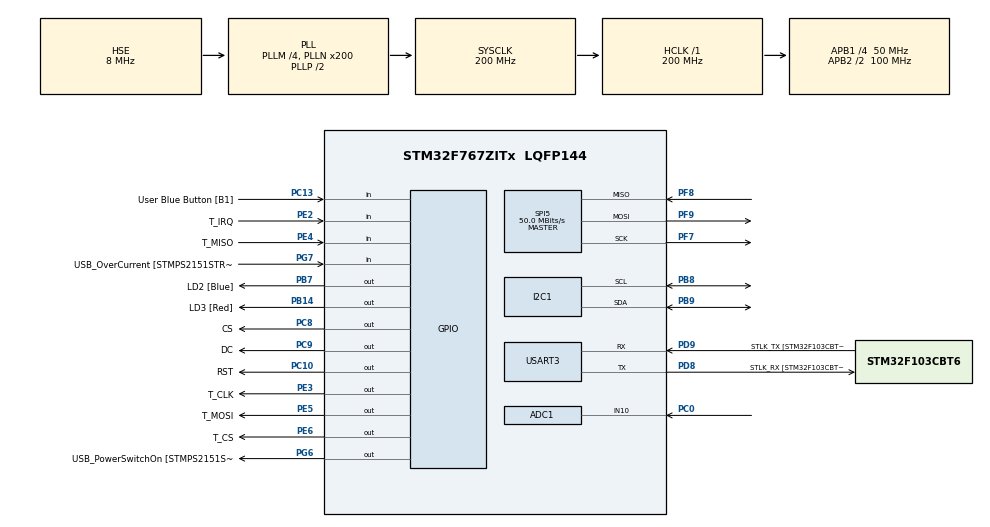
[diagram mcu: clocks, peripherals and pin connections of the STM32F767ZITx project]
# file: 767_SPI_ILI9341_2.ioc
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ADC1.Channel-0\#ChannelRegularConversion=ADC_CHANNEL_10
ADC1.ContinuousConvMode=ENABLE
ADC1.EOCSelection=ADC_EOC_SEQ_CONV
ADC1.NbrOfConversionFlag=1
ADC1.Rank-0\#ChannelRegularConversion=1
ADC1.SamplingTime-0\#ChannelRegularConversion=ADC_SAMPLETIME_3CYCLES
ADC1.master=1
CORTEX_M7.ART_ACCLERATOR_ENABLE=1
CORTEX_M7.CPU_DCache=Enabled
CORTEX_M7.CPU_ICache=Enabled
CORTEX_M7.PREFETCH_ENABLE=1
I2C1.Timing=0x00C0EAFF
Mcu.Family=STM32F7
Mcu.Name=STM32F767ZITx
Mcu.Package=LQFP144
NVIC.PriorityGroup=NVIC_PRIORITYGROUP_4
PA1.GPIO_Label=RMII_REF_CLK [LAN8742A-CZ-TR_REFCLK0]
PA1.Signal=ETH_REF_CLK
PA13.GPIO_Label=TMS
PA13.Mode=Serial_Wire
PA13.Signal=SYS_JTMS-SWDIO
PA14.GPIO_Label=TCK
PA14.Mode=Serial_Wire
PA14.Signal=SYS_JTCK-SWCLK
PA2.GPIO_Label=RMII_MDIO [LAN8742A-CZ-TR_MDIO]
PA2.Signal=ETH_MDIO
PA7.GPIO_Label=RMII_CRS_DV [LAN8742A-CZ-TR_CRS_DV]
PA7.Signal=ETH_CRS_DV
PB13.GPIO_Label=RMII_TXD1 [LAN8742A-CZ-TR_TXD1]
PB13.Signal=ETH_TXD1
PB14.GPIO_Label=LD3 [Red]
PB14.Signal=GPIO_Output
PB3.GPIO_Label=SWO
PB3.Signal=SYS_JTDO-SWO
PB7.GPIO_Label=LD2 [Blue]
PB7.Signal=GPIO_Output
PB8.Mode=I2C
PB8.Signal=I2C1_SCL
PB9.Mode=I2C
PB9.Signal=I2C1_SDA
PC0.Signal=ADCx_IN10
PC1.GPIO_Label=RMII_MDC [LAN8742A-CZ-TR_MDC]
PC1.Signal=ETH_MDC
PC10.GPIO_Label=RST
PC10.GPIO_Speed=GPIO_SPEED_FREQ_VERY_HIGH
PC10.Signal=GPIO_Output
PC13.GPIO_Label=User Blue Button [B1]
PC13.Signal=GPIO_Input
PC14/OSC32_IN.Mode=LSE-External-Oscillator
PC14/OSC32_IN.Signal=RCC_OSC32_IN
PC15/OSC32_OUT.Mode=LSE-External-Oscillator
PC15/OSC32_OUT.Signal=RCC_OSC32_OUT
PC4.GPIO_Label=RMII_RXD0 [LAN8742A-CZ-TR_RXD0]
PC4.Signal=ETH_RXD0
PC5.GPIO_Label=RMII_RXD1 [LAN8742A-CZ-TR_RXD1]
PC5.Signal=ETH_RXD1
PC8.GPIO_Label=CS
PC8.GPIO_PuPd=GPIO_PULLUP
PC8.GPIO_Speed=GPIO_SPEED_FREQ_VERY_HIGH
PC8.Signal=GPIO_Output
PC9.GPIO_Label=DC
PC9.GPIO_PuPd=GPIO_PULLUP
PC9.GPIO_Speed=GPIO_SPEED_FREQ_VERY_HIGH
PC9.Signal=GPIO_Output
PD8.GPIO_Label=STLK_RX [STM32F103CBT6_PA3]
PD8.Mode=Asynchronous
PD8.Signal=USART3_TX
PD9.GPIO_Label=STLK_TX [STM32F103CBT6_PA2]
PD9.Mode=Asynchronous
PD9.Signal=USART3_RX
PE2.GPIO_Label=T_IRQ
PE2.Signal=GPIO_Input
PE3.GPIO_Label=T_CLK
PE3.GPIO_Speed=GPIO_SPEED_FREQ_VERY_HIGH
PE3.Signal=GPIO_Output
PE4.GPIO_Label=T_MISO
PE4.Signal=GPIO_Input
PE5.GPIO_Label=T_MOSI
PE5.GPIO_Speed=GPIO_SPEED_FREQ_VERY_HIGH
PE5.Signal=GPIO_Output
PE6.GPIO_Label=T_CS
PE6.GPIO_Speed=GPIO_SPEED_FREQ_VERY_HIGH
PE6.Signal=GPIO_Output
PF7.Mode=Full_Duplex_Master
PF7.Signal=SPI5_SCK
PF8.Mode=Full_Duplex_Master
PF8.Signal=SPI5_MISO
PF9.Mode=Full_Duplex_Master
PF9.Signal=SPI5_MOSI
PG11.GPIO_Label=RMII_TX_EN [LAN8742A-CZ-TR_TXEN]
PG11.Signal=ETH_TX_EN
PG13.GPIO_Label=RMII_TXD0 [LAN8742A-CZ-TR_TXD0]
PG13.Signal=ETH_TXD0
PG6.GPIO_Label=USB_PowerSwitchOn [STMPS2151STR_EN]
PG6.Signal=GPIO_Output
PG7.GPIO_Label=USB_OverCurrent [STMPS2151STR_FAULT]
PG7.Signal=GPIO_Input
PH0/OSC_IN.GPIO_Label=MCO [STM32F103CBT6_PA8]
PH0/OSC_IN.Mode=HSE-External-Clock-Source
PH0/OSC_IN.Signal=RCC_OSC_IN
PH1/OSC_OUT.Mode=HSE-External-Clock-Source
PH1/OSC_OUT.Signal=RCC_OSC_OUT
ProjectManager.HeapSize=0x200
ProjectManager.StackSize=0x400
ProjectManager.TargetToolchain=STM32CubeIDE
RCC.48MHZClocksFreq_Value=24000000
RCC.AHBFreq_Value=200000000
RCC.APB1CLKDivider=RCC_HCLK_DIV4
RCC.APB1Freq_Value=50000000
RCC.APB1TimFreq_Value=100000000
RCC.APB2CLKDivider=RCC_HCLK_DIV2
RCC.APB2Freq_Value=100000000
RCC.APB2TimFreq_Value=200000000
RCC.CortexFreq_Value=200000000
RCC.HCLKFreq_Value=200000000
RCC.HSE_VALUE=8000000
RCC.HSI_VALUE=16000000
RCC.PLLM=4
RCC.PLLMUL=RCC_PLL_MUL9
RCC.PLLN=200
RCC.PLLQ=9
RCC.PLLSourceVirtual=RCC_PLLSOURCE_HSE
RCC.PRESCALERUSB=RCC_USBCLKSOURCE_PLL_DIV1_5
RCC.SYSCLKFreq_VALUE=200000000
RCC.SYSCLKSource=RCC_SYSCLKSOURCE_PLLCLK
RCC.SYSCLKSourceVirtual=RCC_SYSCLKSOURCE_PLLCLK
RCC.USBFreq_Value=44444444.44444445
RCC.VCOOutputFreq_Value=400000000
SH.ADCx_IN10.0=ADC1_IN10,IN10
SPI5.CalculateBaudRate=50.0 MBits/s
SPI5.DataSize=SPI_DATASIZE_8BIT
SPI5.Direction=SPI_DIRECTION_2LINES
SPI5.Mode=SPI_MODE_MASTER
SPI5.NSSPMode=SPI_NSS_PULSE_DISABLE
SPI5.VirtualType=VM_MASTER
TIM1.ClockDivision=TIM_CLOCKDIVISION_DIV1
TIM1.Period=65536-1
TIM1.Prescaler=20000-1
USART3.VirtualMode-Asynchronous=VM_ASYNC
VP_RNG_VS_RNG.Mode=RNG_Activate
VP_TIM1_VS_ClockSourceINT.Mode=Internal
board=NUCLEO-F767ZI

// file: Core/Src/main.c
/* USER CODE BEGIN Header */
/**
  ******************************************************************************
  * @file           : main.c
  * @brief          : Main program body
  ******************************************************************************
  * @attention
  *
  * <h2><center>&copy; Copyright (c) 2021 STMicroelectronics.
  * All rights reserved.</center></h2>
  *
  * This software component is licensed by ST under BSD 3-Clause license,
  * the "License"; You may not use this file except in compliance with the
  * License. You may obtain a copy of the License at:
  *                        opensource.org/licenses/BSD-3-Clause
  *
  ******************************************************************************
  */
/* USER CODE END Header */
#include "main.h"
#include "adc.h"
#include "i2c.h"
#include "rng.h"
#include "spi.h"
#include "tim.h"
#include "usart.h"
#include "gpio.h"

/* USER CODE BEGIN Includes */
#include "stdio.h"
#include "ILI9341_Touchscreen.h"
#include "ILI9341_STM32_Driver.h"
#include "ILI9341_GFX.h"
#include "snow_tiger.h"
#include "my_image.h"

#include "adc.h"
#include "tim.h"

extern I2C_HandleTypeDef hi2c1;  // ใช้ I2C1
uint8_t data_buffer[8];
#define AM2320_ADDR 0xB8  // I2C Address ของ AM2320 (Shifted 8-bit)
uint16_t temp_raw;
#define MAX_PERCENT 100
#define STEP_PERCENT 10
float temperature = 0.0;
float humidity = 0.0;
uint16_t ILI9341_Color565(uint8_t r, uint8_t g, uint8_t b) {
    return ((r & 0xF8) << 8) | ((g & 0xFC) << 3) | (b >> 3);
}

uint8_t red_percent = 0;
uint8_t green_percent = 0;
uint8_t blue_percent = 0;

uint8_t current_screen = 1; // 1 = หน้าหลัก, 2 = หน้าจอที่สอง
/* USER CODE END Includes */

/* USER CODE BEGIN PV */
/* Private variables ---------------------------------------------------------*/

/* USER CODE END PV */

void SystemClock_Config(void);
/* USER CODE BEGIN PFP */
/* Private function prototypes -----------------------------------------------*/
void draw_color_buttons();
void update_percentage_bar(uint16_t button_id);
/* USER CODE END PFP */

/* USER CODE BEGIN 0 */

  char str[50];
  uint8_t cmdBuffer[3] ={0x03,0x00,0x04};
  uint8_t dataBuffer[8];

void read_AM2320(float *temperature, float *humidity) {
			HAL_I2C_Master_Transmit(&hi2c1, 0x5c << 1, cmdBuffer, 3, 100);

		  HAL_I2C_Master_Transmit(&hi2c1, 0x5c << 1, cmdBuffer, 3, 100);
		  HAL_Delay(1);

		  HAL_I2C_Master_Receive(&hi2c1, 0x5c << 1, dataBuffer, 8, 100);

		  uint16_t t = ((dataBuffer[4] & 0x7F) << 8)+ dataBuffer[5];
		  *temperature = t/10.0;
//		  t = (((dataBuffer[4] & 0x80 )>> 7) == 1) ? (t*(-1)) :t ;

		  uint16_t h = (dataBuffer[2] << 8) + dataBuffer[3];
		  *humidity = h/10.0;
}

void display_sensor_data();  // ประกาศฟังก์ชันก่อนใช้งาน

// ฟังก์ชัน printf() ใช้ UART3 แทน UART1
int _write(int file, char *ptr, int len) {
    HAL_UART_Transmit(&huart3, (uint8_t*) ptr, len, 100);
    return len;
}

void adjust_backlight(uint16_t adc_value) {
    // จำกัดค่า ADC ให้อยู่ในช่วงที่ถูกต้อง
    if (adc_value > 4095) adc_value = 4095;

    // แปลงค่า ADC (0 - 4095) ให้เป็นช่วง 20% - 100%
    uint8_t brightness = (adc_value * 80 / 4095) + 20;

    // คำนวณ Duty Cycle ตามค่า brightness
    uint32_t duty_cycle = (htim1.Init.Period * brightness) / 100;

    // ตั้งค่า PWM Output
    __HAL_TIM_SET_COMPARE(&htim1, TIM_CHANNEL_1, duty_cycle);
}

/* ฟังก์ชันที่ใช้เพื่ออัปเดตเปอร์เซ็นต์ของแต่ละสี */
//void ILI9341_Draw_Scaled_Image(uint16_t x, uint16_t y, uint16_t new_width, uint16_t new_height, uint16_t orig_width, uint16_t orig_height, const uint16_t* data) {
//    uint16_t scale_x = orig_width / new_width;
//    uint16_t scale_y = orig_height / new_height;
//
//    for (uint16_t j = 0; j < new_height; j++) {
//        for (uint16_t i = 0; i < new_width; i++) {
//            uint16_t pixel = data[(j * scale_y * orig_width) + (i * scale_x)];
//            ILI9341_Draw_Pixel(x + i, y + j, pixel);
//        }
//    }
//}

void ILI9341_Draw_Image_Scaled(uint16_t x, uint16_t y,
                               uint16_t new_width, uint16_t new_height,
                               uint16_t orig_width, uint16_t orig_height,
                               const uint16_t* image)
{
    // 1. Allocate a temporary buffer for the scaled image.
    //    (This buffer is sized to hold new_width * new_height pixels.)
    //    Note: If new_width*new_height is too big for the stack,
    //    consider using dynamic memory (malloc) or a statically allocated array.
    uint16_t scaled_image[new_width * new_height];

    // 2. Calculate scaling factors (using floating point for better accuracy)
    float scale_x = (float)orig_width / new_width;
    float scale_y = (float)orig_height / new_height;

    // 3. Fill the scaled_image buffer using nearest-neighbor scaling.
    for (uint16_t j = 0; j < new_height; j++) {
        for (uint16_t i = 0; i < new_width; i++) {
            // Calculate the corresponding original pixel coordinates.
            uint16_t orig_x = (uint16_t)(i * scale_x);
            uint16_t orig_y = (uint16_t)(j * scale_y);
            scaled_image[j * new_width + i] = image[orig_y * orig_width + orig_x];
        }
    }

    // 4. Set the display area where the scaled image will be drawn.
    //    Note: Adjust ILI9341_Set_Address parameters if your function expects (x0,y0,x1,y1).
    ILI9341_Set_Address(x, y, x + new_width - 1, y + new_height - 1);

    // 5. Prepare to send pixel data via SPI in bursts.
    HAL_GPIO_WritePin(GPIOC, DC_Pin, GPIO_PIN_SET);
    HAL_GPIO_WritePin(GPIOC, CS_Pin, GPIO_PIN_RESET);

    // 6. Calculate total number of bytes to send (2 bytes per pixel).
    uint32_t total_bytes = new_width * new_height * 2;
    uint32_t counter = 0;
    unsigned char temp_buffer[BURST_MAX_SIZE];

    // 7. Send the scaled image data in bursts.
    while (counter < total_bytes) {
        // Determine how many bytes to send in this burst.
        uint32_t chunk_size = ((total_bytes - counter) < BURST_MAX_SIZE) ? (total_bytes - counter) : BURST_MAX_SIZE;
        // Copy the data from the scaled image into the temporary buffer.
        // (We cast scaled_image to a pointer to bytes.)
        memcpy(temp_buffer, ((uint8_t*)scaled_image) + counter, chunk_size);
        // Transmit the chunk over SPI.
        HAL_SPI_Transmit(&hspi5, temp_buffer, chunk_size, 10);
        counter += chunk_size;
    }

    HAL_GPIO_WritePin(GPIOC, CS_Pin, GPIO_PIN_SET);
}

void update_percentage_bar(uint16_t button_id) {
	char buffer[20];
	// แสดงค่าอุณหภูมิ
	    sprintf(buffer, "%.1fC", temperature);
	    ILI9341_Draw_Text(buffer, 10, 10, BLACK, 2, WHITE);

	    // แสดงค่าความชื้นสัมพัทธ์
	    sprintf(buffer, "%.1f%%RH", humidity);
	    ILI9341_Draw_Text(buffer, 160, 10, BLACK, 2, WHITE);

    // ผสมสี
	    uint16_t mixed_color = ILI9341_Color565(red_percent * 2.55, green_percent * 2.55, blue_percent * 2.55);
	    ILI9341_Draw_Filled_Circle(120, 20, 15, mixed_color);

    // เพิ่มเปอร์เซ็นต์ตามปุ่มที่กด
    if (button_id == 1 && red_percent < MAX_PERCENT) {
        red_percent += STEP_PERCENT;
    } else if (button_id == 2 && green_percent < MAX_PERCENT) {
        green_percent += STEP_PERCENT;
    } else if (button_id == 3 && blue_percent < MAX_PERCENT) {
        blue_percent += STEP_PERCENT;
    }

    // อัปเดตแถบสี
        char text_buffer[30];

        // แถบสีแดง
        uint16_t red_shade = ILI9341_Color565(red_percent * 2.55, 0, 0);
        sprintf(text_buffer, "%d%%", red_percent);
        ILI9341_Draw_Text(text_buffer, 210, 40, BLACK, 2, WHITE);
        ILI9341_Draw_Filled_Circle(20, 50, 10, RED);
        ILI9341_Draw_Rectangle(40, 40, 160, 20, BLACK);
        ILI9341_Draw_Filled_Rectangle_Coord(40, 40, 40 + (red_percent * 1.6), 60, red_shade);

        // แถบสีเขียว
        uint16_t green_shade = ILI9341_Color565(0, green_percent * 2.55, 0);
        sprintf(text_buffer, "%d%%", green_percent);
        ILI9341_Draw_Text(text_buffer, 210, 70, BLACK, 2, WHITE);
        ILI9341_Draw_Filled_Circle(20, 80, 10, GREEN);
        ILI9341_Draw_Rectangle(40, 70, 160, 20, BLACK);
        ILI9341_Draw_Filled_Rectangle_Coord(40, 70, 40 + (green_percent * 1.6), 90, green_shade);

        // แถบสีน้ำเงิน
        uint16_t blue_shade = ILI9341_Color565(0, 0, blue_percent * 2.55);
        sprintf(text_buffer, "%d%%", blue_percent);
        ILI9341_Draw_Text(text_buffer, 210, 100, BLACK, 2, WHITE);
        ILI9341_Draw_Filled_Circle(20, 110, 10, BLUE);
        ILI9341_Draw_Rectangle(40, 100, 160, 20, BLACK);
        ILI9341_Draw_Filled_Rectangle_Coord(40, 100, 40 + (blue_percent * 1.6), 120, blue_shade);

}
/* USER CODE END 0 */

int main(void)
{

  /* Enable the CPU Cache */

  /* Enable I-Cache---------------------------------------------------------*/
  SCB_EnableICache();

  /* Enable D-Cache---------------------------------------------------------*/
  SCB_EnableDCache();

  /* MCU Configuration--------------------------------------------------------*/

  /* Reset of all peripherals, Initializes the Flash interface and the Systick. */
  HAL_Init();

  /* Configure the system clock */
  SystemClock_Config();

  /* Initialize all configured peripherals */
  MX_GPIO_Init();
  MX_USART3_UART_Init();
  MX_SPI5_Init();
  MX_TIM1_Init();
  MX_RNG_Init();
  MX_I2C1_Init();
  MX_ADC1_Init();
  /* USER CODE BEGIN 2 */
  ILI9341_Init();
  ILI9341_Set_Rotation(SCREEN_HORIZONTAL_1);  // หมุนหน้าจอเป็นแนวนอน
  ILI9341_Fill_Screen(WHITE); // เติมหน้าจอด้วยสีขาว
  update_percentage_bar(0);

  adjust_backlight(50);  // ปรับเป็น 50%
  // กำหนดพิกัดของปุ่ม
  uint16_t button_radius = 15;
  uint16_t button_y = 30;

  uint16_t button1_x = 190;
  uint16_t button1_y = button_y;

  uint16_t button2_x = 170;
  uint16_t button2_y = button_y;

  uint16_t button3_x = 120;
  uint16_t button3_y = button_y;

  uint32_t last_touch_time = 0;  // เก็บเวลาของการสัมผัสครั้งล่าสุด
  uint32_t timeout_duration = 5000;  // เวลาที่จะให้หน้าจอกลับ (5 วินาที)

  /* USER CODE END 2 */

  /* Infinite loop */
  while (1)
  {

    /* USER CODE BEGIN 3 */

	  char buffer[20];
	  read_AM2320(&temperature, &humidity);
	  sprintf(buffer, "%.1fC", temperature);
	  ILI9341_Draw_Text(buffer, 10, 10, BLACK, 2, WHITE);
	  sprintf(buffer, "%.1f%%RH", humidity);
	  ILI9341_Draw_Text(buffer, 160, 10, BLACK, 2, WHITE);
	  HAL_Delay(20);  // รอเวลาสั้นๆ เพื่อไม่ให้โค้ดทำงานหนักเกินไป

	     if (TP_Touchpad_Pressed()) {
	         uint16_t x_pos = 0;
	         uint16_t y_pos = 0;
	         uint16_t position_array[2];

	         if (TP_Read_Coordinates(position_array) == TOUCHPAD_DATA_OK) {
	             x_pos = position_array[0];
	             y_pos = position_array[1];

	             // อัปเดตเวลาของการสัมผัสครั้งล่าสุด
	             last_touch_time = HAL_GetTick();

	             // ตรวจสอบว่ากดปุ่มที่ตำแหน่งใด
	             int distance_x, distance_y;

	             // ปุ่มที่ 1 (สีแดง)
	             distance_x = abs(x_pos - button1_x);
	             distance_y = abs(y_pos - button1_y);
	             if (distance_x <= button_radius && distance_y <= button_radius) {
	                 update_percentage_bar(1);
	                 HAL_Delay(200);  // ลดการตอบสนองหลายครั้ง
	             }

	             // ปุ่มที่ 2 (สีเขียว)
	             distance_x = abs(x_pos - button2_x);
	             distance_y = abs(y_pos - button2_y);
	             if (distance_x <= button_radius && distance_y <= button_radius) {
	                 update_percentage_bar(2);
	                 HAL_Delay(200);
	             }

	             // ปุ่มที่ 3 (สีน้ำเงิน)
	             distance_x = abs(x_pos - button3_x);
	             distance_y = abs(y_pos - button3_y);
	             if (distance_x <= button_radius && distance_y <= button_radius) {
	                 update_percentage_bar(3);
	                 HAL_Delay(200);
	             }

	             // จัดการการเปลี่ยนหน้าจอ
	             if (current_screen == 1) {
	                 if (abs(x_pos - 220) <= 15 && abs(y_pos - 120) <= 15) {
	                     current_screen = 2;
	                     ILI9341_Set_Rotation(SCREEN_HORIZONTAL_1);  // หมุนหน้าจอเป็นแนวนอน
	                     ILI9341_Fill_Screen(WHITE);  // ล้างหน้าจอ

	                     // วาดรูปภาพหรือเนื้อหาของหน้าจอที่สอง
	                     ILI9341_Draw_Image_Scaled(10, 40,90,128, 320, 240, snow_tiger);
//	                     ILI9341_Draw_Image((const char*)snow_tiger, SCREEN_HORIZONTAL_1);
	                     uint16_t mixed_color = ILI9341_Color565(red_percent * 2.55, green_percent * 2.55, blue_percent * 2.55);

	                     // แสดงข้อมูล
	                     ILI9341_Draw_Text("Group No.1", 120, 40, mixed_color, 2, WHITE);
	                     ILI9341_Draw_Text("Jirawat", 120, 80, mixed_color, 2, WHITE);
	                     ILI9341_Draw_Text("Patipan", 120, 110, mixed_color, 2, WHITE);
	                     ILI9341_Draw_Text("66015116", 120, 140, mixed_color, 2, WHITE);

	                     HAL_Delay(200);
	                 }
	                 else if (abs(x_pos - 190) <= 15 && abs(y_pos - 30) <= 15)
	                     update_percentage_bar(1);
	                 else if (abs(x_pos - 170) <= 15 && abs(y_pos - 30) <= 15)
	                     update_percentage_bar(2);
	                 else if (abs(x_pos - 120) <= 15 && abs(y_pos - 30) <= 15)
	                     update_percentage_bar(3);
	             }
	             else if (current_screen == 2) {
	                 if (abs(x_pos - 160) <= 60 && abs(y_pos - 60) <= 35) {
	                     current_screen = 1;
	                     ILI9341_Set_Rotation(SCREEN_HORIZONTAL_1);  // หมุนหน้าจอเป็นแนวนอน
	                     ILI9341_Fill_Screen(WHITE);  // ล้างหน้าจอ

	                     update_percentage_bar(0);
	                     HAL_Delay(200);
	                 }
	             }
	         }
	     }

	     // เช็คว่าเวลาผ่านไป 5 วินาทีหรือไม่ในหน้าจอที่สอง
	     if (current_screen == 2 && (HAL_GetTick() - last_touch_time) >= timeout_duration) {
	         current_screen = 1;
	         ILI9341_Set_Rotation(SCREEN_HORIZONTAL_1);  // หมุนหน้าจอเป็นแนวนอน
	         ILI9341_Fill_Screen(WHITE);  // ล้างหน้าจอ
	         update_percentage_bar(0);
	         HAL_Delay(200);
	     }

  }

  /* USER CODE END 3 */
}

void SystemClock_Config(void)
{
  RCC_OscInitTypeDef RCC_OscInitStruct = {0};
  RCC_ClkInitTypeDef RCC_ClkInitStruct = {0};

  /** Configure LSE Drive Capability
  */
  HAL_PWR_EnableBkUpAccess();

  /** Configure the main internal regulator output voltage
  */
  __HAL_RCC_PWR_CLK_ENABLE();
  __HAL_PWR_VOLTAGESCALING_CONFIG(PWR_REGULATOR_VOLTAGE_SCALE1);

  /** Initializes the RCC Oscillators according to the specified parameters
  * in the RCC_OscInitTypeDef structure.
  */
  RCC_OscInitStruct.OscillatorType = RCC_OSCILLATORTYPE_HSE;
  RCC_OscInitStruct.HSEState = RCC_HSE_BYPASS;
  RCC_OscInitStruct.PLL.PLLState = RCC_PLL_ON;
  RCC_OscInitStruct.PLL.PLLSource = RCC_PLLSOURCE_HSE;
  RCC_OscInitStruct.PLL.PLLM = 4;
  RCC_OscInitStruct.PLL.PLLN = 200;
  RCC_OscInitStruct.PLL.PLLP = RCC_PLLP_DIV2;
  RCC_OscInitStruct.PLL.PLLQ = 9;
  RCC_OscInitStruct.PLL.PLLR = 2;
  if (HAL_RCC_OscConfig(&RCC_OscInitStruct) != HAL_OK)
  {
    Error_Handler();
  }

  /** Activate the Over-Drive mode
  */
  if (HAL_PWREx_EnableOverDrive() != HAL_OK)
  {
    Error_Handler();
  }

  /** Initializes the CPU, AHB and APB buses clocks
  */
  RCC_ClkInitStruct.ClockType = RCC_CLOCKTYPE_HCLK|RCC_CLOCKTYPE_SYSCLK
                              |RCC_CLOCKTYPE_PCLK1|RCC_CLOCKTYPE_PCLK2;
  RCC_ClkInitStruct.SYSCLKSource = RCC_SYSCLKSOURCE_PLLCLK;
  RCC_ClkInitStruct.AHBCLKDivider = RCC_SYSCLK_DIV1;
  RCC_ClkInitStruct.APB1CLKDivider = RCC_HCLK_DIV4;
  RCC_ClkInitStruct.APB2CLKDivider = RCC_HCLK_DIV2;

  if (HAL_RCC_ClockConfig(&RCC_ClkInitStruct, FLASH_LATENCY_6) != HAL_OK)
  {
    Error_Handler();
  }
}

void Error_Handler(void)
{
  while(1)
  {
  }
}
